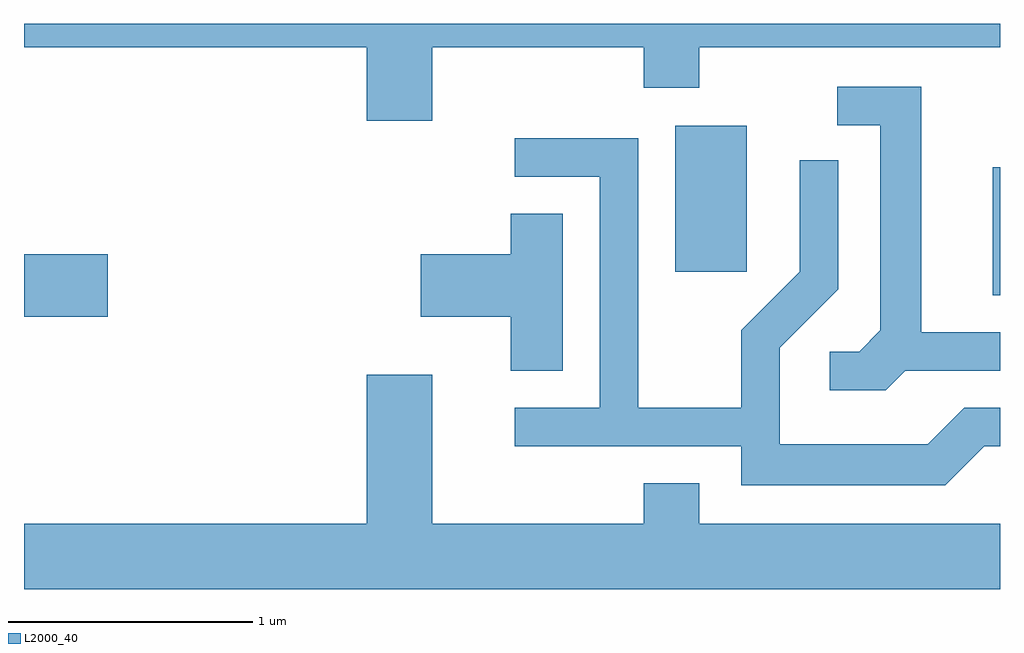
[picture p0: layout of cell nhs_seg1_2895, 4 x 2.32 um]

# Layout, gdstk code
import gdstk
lib = gdstk.Library(unit=1e-6, precision=1e-09)
def R(c, l, rs):  # rectangles x0, y0, x1, y1
    for r in rs: c.add(gdstk.rectangle(r[:2], r[2:], *l))
def P(c, l, *ps):  # polygons
    for p in ps: c.add(gdstk.Polygon(p, *l))
L2000_40 = (2000, 40)

nhs_seg1_2895 = lib.new_cell('nhs_seg1_2895')
R(nhs_seg1_2895, L2000_40, [(273.611,858.511,273.954,858.769), (277.581,858.601,277.611,859.124), (276.281,858.696,276.574,859.294)])
P(nhs_seg1_2895, L2000_40, [(275.284,859.616),(276.151,859.616),(276.151,859.451),(276.379,859.451),(276.379,859.616),(277.611,859.616),(277.611,859.712),(273.611,859.712),(273.611,859.616),(275.016,859.616),(275.016,859.316),(275.284,859.316)],
  [(277.222,858.291),(277.611,858.291),(277.611,858.449),(277.289,858.449),(277.289,859.454),(276.943,859.454),(276.943,859.296),(277.121,859.296),(277.121,858.457),(277.034,858.369),(276.913,858.369),(276.913,858.211),(277.142,858.211)],
  [(277.547,857.981),(277.611,857.981),(277.611,858.139),(277.464,858.139),(277.314,857.989),(276.709,857.989),(276.709,858.384),(276.949,858.624),(276.949,859.153),(276.791,859.153),(276.791,858.697),(276.551,858.457),(276.551,858.139),(276.129,858.139),(276.129,859.244),(275.623,859.244),(275.623,859.086),(275.971,859.086),(275.971,858.139),(275.623,858.139),(275.623,857.981),(276.551,857.981),(276.551,857.821),(277.387,857.821)],
  [(275.819,858.934),(275.606,858.934),(275.606,858.769),(275.236,858.769),(275.236,858.511),(275.606,858.511),(275.606,858.291),(275.819,858.291)],
  [(277.611,857.664),(276.379,857.664),(276.379,857.829),(276.151,857.829),(276.151,857.664),(275.284,857.664),(275.284,858.274),(275.016,858.274),(275.016,857.664),(273.611,857.664),(273.611,857.396),(277.611,857.396)])

lib.write_gds('nhs_seg1_2895.gds')
